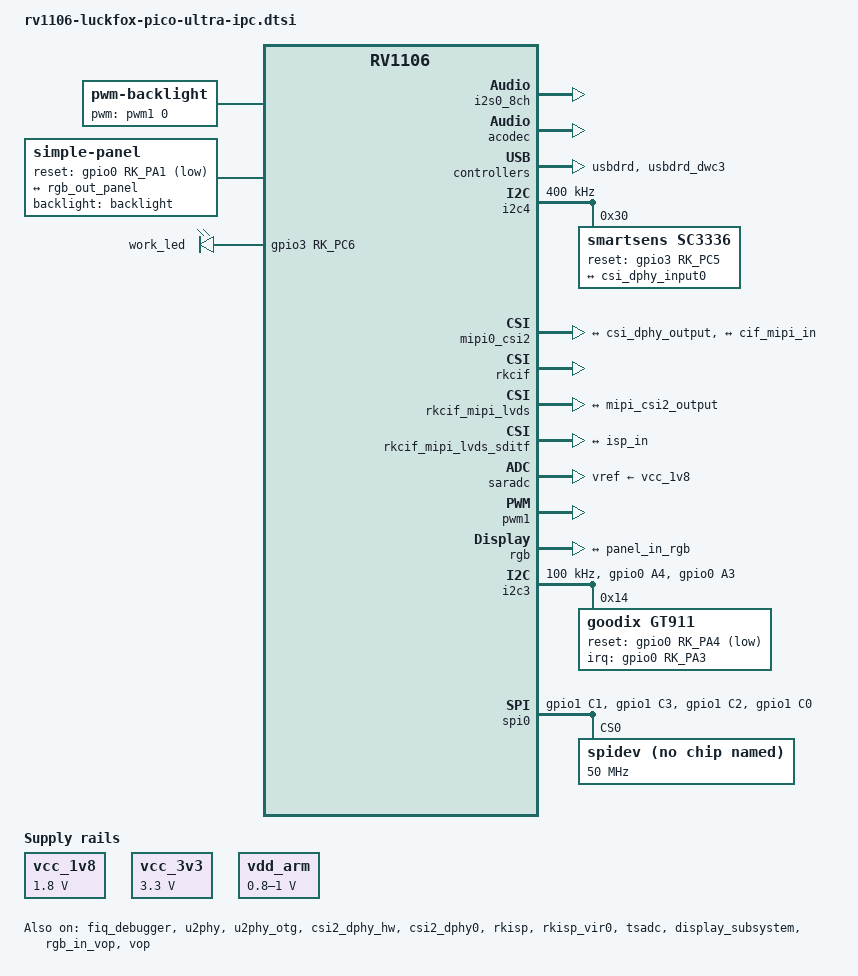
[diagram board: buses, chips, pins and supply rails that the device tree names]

// SPDX-License-Identifier: (GPL-2.0+ OR MIT)
/*
 * Copyright (c) 2022 Rockchip Electronics Co., Ltd.
 */

#include "rv1106-evb.dtsi"
#include <dt-bindings/input/input.h>
#include <dt-bindings/display/media-bus-format.h>

/ {
	chosen {
		bootargs = "earlycon=uart8250,mmio32,0xff4c0000 console=ttyFIQ0 root=/dev/mmcblk0p7 rootwait snd_soc_core.prealloc_buffer_size_kbytes=16 coherent_pool=0";
	};

	backlight: backlight {
		status = "okay";
		compatible = "pwm-backlight";
		pwms = <&pwm1 0 100000 50000>;
		brightness-levels = <
			  0   1   2   3   4   5   6   7
			  8   9  10  11  12  13  14  15
			 16  17  18  19  20  21  22  23
			 24  25  26  27  28  29  30  31
			 32  33  34  35  36  37  38  39
			 40  41  42  43  44  45  46  47
			 48  49  50  51  52  53  54  55
			 56  57  58  59  60  61  62  63
			 64  65  66  67  68  69  70  71
			 72  73  74  75  76  77  78  79
			 80  81  82  83  84  85  86  87
			 88  89  90  91  92  93  94  95
			 96  97  98  99 100 101 102 103
			104 105 106 107 108 109 110 111
			112 113 114 115 116 117 118 119
			120 121 122 123 124 125 126 127
			128 129 130 131 132 133 134 135
			136 137 138 139 140 141 142 143
			144 145 146 147 148 149 150 151
			152 153 154 155 156 157 158 159
			160 161 162 163 164 165 166 167
			168 169 170 171 172 173 174 175
			176 177 178 179 180 181 182 183
			184 185 186 187 188 189 190 191
			192 193 194 195 196 197 198 199
			200 201 202 203 204 205 206 207
			208 209 210 211 212 213 214 215
			216 217 218 219 220 221 222 223
			224 225 226 227 228 229 230 231
			232 233 234 235 236 237 238 239
			240 241 242 243 244 245 246 247
			248 249 250 251 252 253 254 255>;
		default-brightness-level = <255>;
	};

	panel: panel {
		compatible = "simple-panel";
		backlight = <&backlight>;

		reset-gpios = <&gpio0 RK_PA1 GPIO_ACTIVE_LOW>;
		reset-delay-ms = <200>;
		status = "okay";

		bus-format = <MEDIA_BUS_FMT_RGB666_1X18>;
		width-mm = <85>;
		height-mm = <85>;

		display-timings {
			native-mode = <&timing0>;

			timing0: timing0 {
				clock-frequency = <30000000>;
				hactive = <720>;
				vactive = <720>;
				hback-porch = <44>;
				hfront-porch = <46>;
				vback-porch = <18>;
				vfront-porch = <16>;
				hsync-len = <2>;
				vsync-len = <2>;
				hsync-active = <0>;
				vsync-active = <0>;
				de-active = <0>;
				pixelclk-active = <0>;
			};
		};

		port {
			panel_in_rgb: endpoint {
				remote-endpoint = <&rgb_out_panel>;
			};
		};
	};

	reserved_memory: reserved-memory {
		status = "okay";
		#address-cells = <1>;
		#size-cells = <1>;
		ranges;
		drm_logo: drm-logo@00000000 {
			compatible = "rockchip,drm-logo";
			reg = <0x0 0x0>;
		};
		linux,cma {
			status = "okay";
			compatible = "shared-dma-pool";
			inactive;
			reusable;
			size = <0xA00000>; //10M
			linux,cma-default;
		};
		mmc_ecsd: mmc@3f000 {
			reg = <0x3f000 0x00001000>;
		};
	};

	acodec_sound: acodec-sound {
		compatible = "simple-audio-card";
		simple-audio-card,name = "rv1106-acodec";
		simple-audio-card,format = "i2s";
		simple-audio-card,mclk-fs = <256>;
		simple-audio-card,cpu {
			sound-dai = <&i2s0_8ch>;
		};
		simple-audio-card,codec {
			sound-dai = <&acodec>;
		};
	};

	dsm_sound: dsm-sound {
		status = "disabled";
		compatible = "simple-audio-card";
		simple-audio-card,format = "i2s";
		simple-audio-card,mclk-fs = <256>;
		simple-audio-card,name = "rockchip,dsm-sound";
		simple-audio-card,bitclock-master = <&sndcodec>;
		simple-audio-card,frame-master = <&sndcodec>;
		sndcpu: simple-audio-card,cpu {
			sound-dai = <&i2s0_8ch>;
		};
		sndcodec: simple-audio-card,codec {
			sound-dai = <&dsm>;
		};
	};

	vcc_1v8: vcc-1v8 {
		compatible = "regulator-fixed";
		regulator-name = "vcc_1v8";
		regulator-always-on;
		regulator-boot-on;
		regulator-min-microvolt = <1800000>;
		regulator-max-microvolt = <1800000>;
	};

	vcc_3v3: vcc-3v3 {
		compatible = "regulator-fixed";
		regulator-name = "vcc_3v3";
		regulator-always-on;
		regulator-boot-on;
		regulator-min-microvolt = <3300000>;
		regulator-max-microvolt = <3300000>;
	};

	vdd_arm: vdd-arm {
		compatible = "regulator-fixed";
		regulator-name = "vdd_arm";
		regulator-min-microvolt = <800000>;
		regulator-max-microvolt = <1000000>;
		regulator-init-microvolt = <900000>;
		regulator-always-on;
		regulator-boot-on;
	};

	leds: leds {
		compatible = "gpio-leds";
		work_led: work{
			gpios = <&gpio3 RK_PC6 GPIO_ACTIVE_HIGH>;
			linux,default-trigger = "activity";
			default-state = "on";
		};
	};
};

/***************************** audio ********************************/
&i2s0_8ch {
	#sound-dai-cells = <0>;
	status = "okay";
};

&acodec {
	#sound-dai-cells = <0>;
	pa-ctl-gpios = <&gpio3 RK_PD3 GPIO_ACTIVE_HIGH>;
	status = "okay";
};

/************************* FIQ_DUBUGGER ****************************/
&fiq_debugger {
	rockchip,irq-mode-enable = <1>;
	status = "okay";
};

/***************************** USB *********************************/
&u2phy {
	status = "okay";
};

&u2phy_otg {
	status = "okay";
};

&usbdrd {
	status = "okay";
};

&usbdrd_dwc3 {
	extcon = <&u2phy>;
	status = "okay";
};

/***************************** DSM *********************************/
&dsm {
	status = "disabled";
};

&cpu0 {
	cpu-supply = <&vdd_arm>;
};

/*************************** CSI *********************************/
&csi2_dphy_hw {
	status = "okay";
};

&csi2_dphy0 {
	status = "okay";

	ports {
		#address-cells = <1>;
		#size-cells = <0>;

		port@0 {
			reg = <0>;
			#address-cells = <1>;
			#size-cells = <0>;

			csi_dphy_input0: endpoint@0 {
				reg = <0>;
				remote-endpoint = <&sc3336_out>;
				data-lanes = <1 2>;
			};

		};

		port@1 {
			reg = <1>;
			#address-cells = <1>;
			#size-cells = <0>;

			csi_dphy_output: endpoint@0 {
				reg = <0>;
				remote-endpoint = <&mipi_csi2_input>;
			};
		};
	};
};

&i2c4 {
	status = "okay";
	clock-frequency = <400000>;
	pinctrl-names = "default";
	// pinctrl-0 = <&i2c4m2_xfer>;

	sc3336: sc3336@30 {
		compatible = "smartsens,sc3336";
		status = "okay";
		reg = <0x30>;
		clocks = <&cru MCLK_REF_MIPI0>;
		clock-names = "xvclk";
		reset-gpios = <&gpio3 RK_PC5 GPIO_ACTIVE_HIGH>;
		pinctrl-names = "default";
		pinctrl-0 = <&mipi_refclk_out0>;
		rockchip,camera-module-index = <0>;
		rockchip,camera-module-facing = "back";
		rockchip,camera-module-name = "CMK-OT2119-PC1";
		rockchip,camera-module-lens-name = "30IRC-F16";
		port {
			sc3336_out: endpoint {
				remote-endpoint = <&csi_dphy_input0>;
				data-lanes = <1 2>;
			};
		};
	};
};

&mipi0_csi2 {
	status = "okay";

	ports {
		#address-cells = <1>;
		#size-cells = <0>;

		port@0 {
			reg = <0>;
			#address-cells = <1>;
			#size-cells = <0>;

			mipi_csi2_input: endpoint@1 {
				reg = <1>;
				remote-endpoint = <&csi_dphy_output>;
			};
		};

		port@1 {
			reg = <1>;
			#address-cells = <1>;
			#size-cells = <0>;

			mipi_csi2_output: endpoint@0 {
				reg = <0>;
				remote-endpoint = <&cif_mipi_in>;
			};
		};
	};
};

&rkcif {
	status = "okay";
};

&rkcif_mipi_lvds {
	status = "okay";

	pinctrl-names = "default";
	pinctrl-0 = <&mipi_pins>;
	port {
		/* MIPI CSI-2 endpoint */
		cif_mipi_in: endpoint {
			remote-endpoint = <&mipi_csi2_output>;
		};
	};
};

&rkcif_mipi_lvds_sditf {
	status = "okay";

	port {
		/* MIPI CSI-2 endpoint */
		mipi_lvds_sditf: endpoint {
			remote-endpoint = <&isp_in>;
		};
	};
};

&rkisp {
	status = "okay";
};

&rkisp_vir0 {
	status = "okay";

	port@0 {
		isp_in: endpoint {
			remote-endpoint = <&mipi_lvds_sditf>;
		};
	};
};

/***************************** ADC ********************************/
&saradc {
	status = "okay";
	vref-supply = <&vcc_1v8>;
};

&tsadc {
	status = "okay";
};

/**************************** LCD/TP ******************************/
&pwm1 {
	status = "okay";
	pinctrl-names = "active";
	pinctrl-0 = <&pwm1m2_pins>;
};

&display_subsystem {
	status = "okay";
	logo-memory-region = <&drm_logo>;
};

&rgb {
	status = "okay";
	pinctrl-names = "default";
	pinctrl-0 = <&lcd_pins>;

	ports {
		rgb_out: port@1 {
			reg = <1>;
			#address-cells = <1>;
			#size-cells = <0>;

			rgb_out_panel: endpoint@0 {
				reg = <0>;
				remote-endpoint = <&panel_in_rgb>;
			};
		};
	};
};

&rgb_in_vop {
	status = "okay";
};

&route_rgb {
	status = "disabled";
};

&vop {
	status = "okay";
};

&i2c3 {
    clock-frequency = <100000>;
    GT911:touchscreen {
      compatible = "goodix,gt911";
      reg = <0x14>;

      interrupt-parent = <&gpio0>;
      interrupts = <RK_PA3 IRQ_TYPE_EDGE_FALLING>;

      reset-gpios = <&gpio0 RK_PA4 GPIO_ACTIVE_LOW>;
      pinctrl-names = "default";
    };
};

/**************************** PINCTRL ******************************/
// SPI
&spi0 {
	pinctrl-0 = <&spi0m0_clk &spi0m0_miso &spi0m0_mosi &spi0m0_cs0>;
	#address-cells = <1>;
	#size-cells = <0>;
	spidev@0 {
		compatible = "rockchip,spidev";
		spi-max-frequency = <50000000>;
		reg = <0>;
	};
};

// I2C
&i2c1 {
	pinctrl-0 = <&i2c1m1_xfer>;
};
&i2c2 {
	pinctrl-0 = <&i2c2m0_xfer>;
};
&i2c3 {
	pinctrl-0 = <&i2c3m0_xfer &i2c3m1_xfer &i2c3m2_xfer &tp_rst &tp_irq>;
};
&i2c4 {
	pinctrl-0 = <&i2c4m0_xfer &i2c4m1_xfer &i2c4m2_xfer>;
};

// UART
&uart0 {
	pinctrl-0 = <&uart0m0_xfer &uart0m1_xfer>;
};
&uart1 {
	pinctrl-0 = <&uart1m1_xfer>;
};
&uart3 {
	pinctrl-0 = <&uart3m0_xfer &uart3m1_xfer>;
};
&uart4 {
	pinctrl-0 = <&uart4m0_xfer>;
};
&uart5 {
	pinctrl-0 = <&uart5m1_xfer>;
};

// PWM
&pwm0 {
	pinctrl-0 = <&pwm0m1_pins>;
};
&pwm2 {
	pinctrl-0 = <&pwm2m1_pins &pwm2m2_pins>;
};
&pwm3 {
	pinctrl-0 = <&pwm3m2_pins>;
};
&pwm4 {
	pinctrl-0 = <&pwm4m0_pins &pwm4m1_pins &pwm4m2_pins>;
};
&pwm5 {
	pinctrl-0 = <&pwm5m1_pins &pwm5m2_pins>;
};
&pwm6 {
	pinctrl-0 = <&pwm6m1_pins &pwm6m2_pins>;
};
&pwm7 {
	pinctrl-0 = <&pwm7m0_pins &pwm7m1_pins>;
};
&pwm8 {
	pinctrl-0 = <&pwm8m1_pins>;
};
&pwm9 {
	pinctrl-0 = <&pwm9m1_pins>;
};
&pwm10 {
	pinctrl-0 = <&pwm10m1_pins &pwm10m2_pins>;
};
&pwm11 {
	pinctrl-0 = <&pwm11m1_pins &pwm11m2_pins>;
};

&pinctrl {
	spi0 {
		spi0m0_clk: spi0m0-clk {
			rockchip,pins = <1 RK_PC1 4 &pcfg_pull_none>;
		};
		spi0m0_mosi: spi0m0-mosi {
			rockchip,pins = <1 RK_PC2 6 &pcfg_pull_none>;
		};
		spi0m0_miso: spi0m0-miso {
			rockchip,pins = <1 RK_PC3 6 &pcfg_pull_none>;
		};
		spi0m0_cs0: spi0m0-cs0 {
			rockchip,pins = <1 RK_PC0 4 &pcfg_pull_none>;
		};
	};

	touchscreen {
		tp_rst:tp-rst {
			rockchip,pins = <0 RK_PA4 RK_FUNC_GPIO &pcfg_pull_up>;
		};

		tp_irq:tp-irq {
			rockchip,pins = <0 RK_PA3 RK_FUNC_GPIO &pcfg_pull_none>;
		};
	};
};
